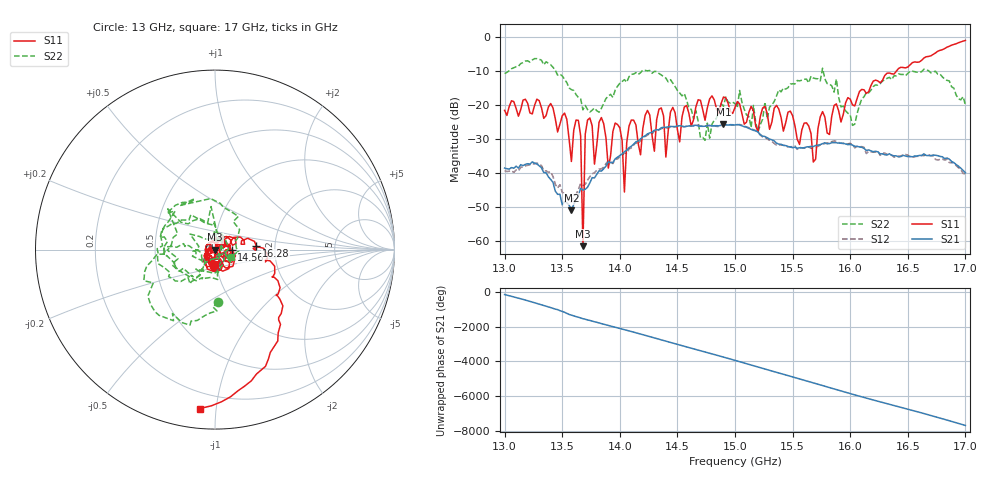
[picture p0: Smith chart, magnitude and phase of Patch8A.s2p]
!Keysight Technologies,P9374A,MY57211810,A.19.30.04
!Date: Friday, May 09, 2025 11:20:20
!Correction: S11(C* 2-Port  )
!S21(C* 2-Port  )
!S12(C* 2-Port  )
!S22(C* 2-Port  )
!S2P File: Measurements: S11, S21, S12, S22:
# Hz S  dB  R 50
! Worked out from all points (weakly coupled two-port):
!   201 points, 13 GHz to 17 GHz, reference 50 ohm
!   highest |S21| = -25.69 dB at 14.9 GHz (marker M1); lowest = -50.9 dB at 13.58 GHz (marker M2)
!   lowest |S11| = -61.5 dB at 13.68 GHz (marker M3), VSWR 1.00, Z = 50 - j0.083 ohm
!   |S11| at or under -10 dB: start of sweep to 16.4 GHz
!   |S22| runs from -30.4 to -6.4 dB; largest |S21 - S12| = 0.0035
!   S11 on the Smith chart (normalised r, x): 13 GHz: 0.97, -0.16; 14.56 GHz: 1.21, -0.00; 16.28 GHz: 1.60, +0.06; 17 GHz: 0.11, -0.90
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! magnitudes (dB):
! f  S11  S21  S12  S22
! 13 GHz  -21.6  -38.5  -39.3  -10.7
! 13.52 GHz  -22.4  -48.4  -46.1  -12.5
! 13.58 GHz  -36.6  -50.9  -48.5  -15.5
! 13.66 GHz  -29.0  -44.5  -43.1  -18.2
! 13.68 GHz  -61.5  -45.1  -43.7  -21.4
! 13.7 GHz  -28.5  -44.8  -43.3  -20.1
! 13.72 GHz  -24.4  -44.2  -42.1  -21.3
! 13.9 GHz  -38.5  -36.7  -36.3  -17.4
! 14 GHz  -26.7  -34.8  -35.2  -13.6
! 14.04 GHz  -45.6  -33.7  -34.1  -12.5
! 14.1 GHz  -24.4  -32.1  -32.6  -11.0
! 14.3 GHz  -33.6  -27.4  -27.6  -10.1
! 14.34 GHz  -21.2  -27.2  -27.3  -10.7
! 14.4 GHz  -35.3  -26.5  -26.7  -12.1
! 14.56 GHz  -20.6  -26.4  -26.4  -16.6
! 14.9 GHz  -17.6  -25.7  -25.8  -20.4
! 15 GHz  -20.7  -25.9  -25.9  -19.6
! 15.68 GHz  -36.8  -32.2  -32.6  -12.1
! 16.02 GHz  -19.9  -31.8  -31.6  -26.0
! 16.28 GHz  -12.7  -34.3  -34.1  -13.0
! 16.34 GHz  -10.6  -34.3  -34.6  -11.9
! 17 GHz  -1.0  -39.9  -40.2  -20.0
